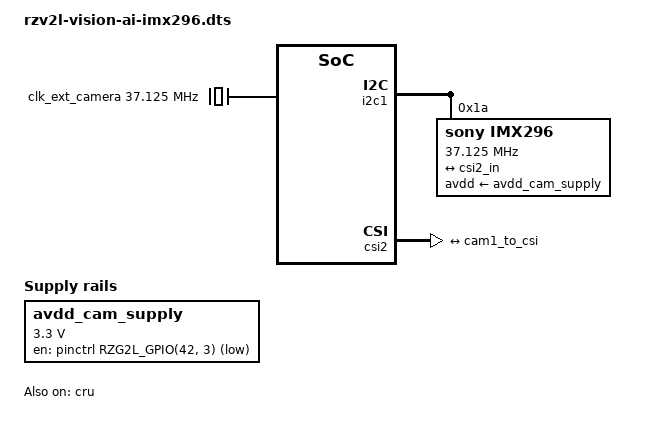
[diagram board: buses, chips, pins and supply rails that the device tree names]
// SPDX-License-Identifier: (GPL-2.0-only OR BSD-2-Clause)
/*
 * Device Tree Source for the RZ/G2L SMARC EVK board
 *
 * Copyright (C) 2021 Renesas Electronics Corp.
 */

/dts-v1/;
#include "rzv2l-vision-ai.dts"

/ {
	clk_ext_camera: clk_ext_camera {
		compatible = "fixed-clock";
		#clock-cells = <0>;
		clock-frequency = <37125000>;
	};

	avdd_cam_supply: 3p3v {
		compatible = "regulator-fixed";
		regulator-name = "avdd_cam_supply";
		regulator-min-microvolt = <3300000>;
		regulator-max-microvolt = <3300000>;
		gpios = <&pinctrl RZG2L_GPIO(42, 3) 0>;
		startup-delay-us = <500000>;
	};
};

&i2c1 {
	pinctrl-0 = <&i2c1_pins>;
	pinctrl-names = "default";

	status = "okay";

	imx296: imx296@1a {
		compatible = "sony,imx296";
		reg = <0x1a>;
		clock-names = "inck";
		clocks = <&clk_ext_camera>;
		clock-frequency = <37125000>;
		avdd-supply = <&avdd_cam_supply>;

		port {
			cam1_to_csi: endpoint {
				clock-lanes = <0>;
				data-lanes = <1>;
				remote-endpoint = <&csi2_in>;
			};
		};
	};

};

&cru {
	status = "okay";
};

&csi2 {
	status = "okay";

	ports {
		port {
			csi2_in: endpoint {
				clock-lanes = <0>;
				data-lanes = <1>;
				remote-endpoint = <&cam1_to_csi>;
			};
		};
	};
};
